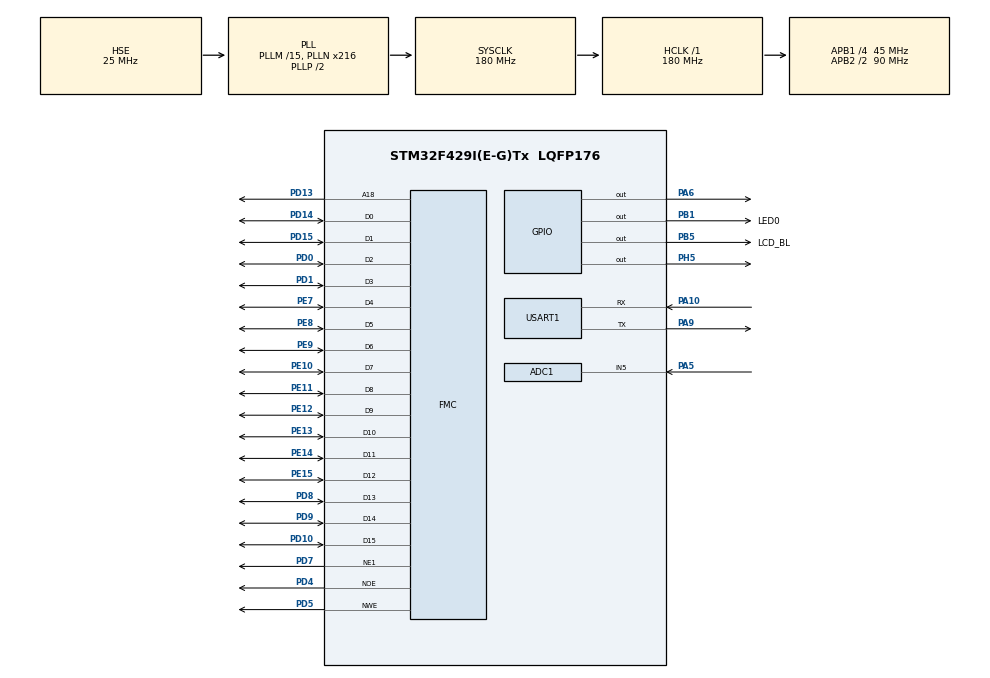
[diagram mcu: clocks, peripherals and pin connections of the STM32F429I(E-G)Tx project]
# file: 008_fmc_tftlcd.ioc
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ADC1.Channel-0\#ChannelRegularConversion=ADC_CHANNEL_5
ADC1.NbrOfConversionFlag=1
ADC1.Rank-0\#ChannelRegularConversion=1
ADC1.SamplingTime-0\#ChannelRegularConversion=ADC_SAMPLETIME_3CYCLES
ADC1.master=1
FMC.DataSetupTime1=70
FMC.ExtendedDataSetupTime1=15
FMC.ExtendedMode1=FMC_EXTENDED_MODE_ENABLE
Mcu.Family=STM32F4
Mcu.Name=STM32F429I(E-G)Tx
Mcu.Package=LQFP176
NVIC.ADC_IRQn=true\:0\:0\:false\:false\:true\:true\:true
NVIC.PriorityGroup=NVIC_PRIORITYGROUP_2
PA10.Mode=Asynchronous
PA10.Signal=USART1_RX
PA13.Mode=Serial_Wire
PA13.Signal=SYS_JTMS-SWDIO
PA14.Mode=Serial_Wire
PA14.Signal=SYS_JTCK-SWCLK
PA5.Signal=ADCx_IN5
PA6.PinState=GPIO_PIN_SET
PA6.Signal=GPIO_Output
PA9.Mode=Asynchronous
PA9.Signal=USART1_TX
PB1.GPIO_Label=LED0
PB1.Signal=GPIO_Output
PB5.GPIO_Label=LCD_BL
PB5.GPIO_PuPd=GPIO_PULLUP
PB5.GPIO_Speed=GPIO_SPEED_FREQ_VERY_HIGH
PB5.PinState=GPIO_PIN_SET
PB5.Signal=GPIO_Output
PC14/OSC32_IN.Mode=LSE-External-Oscillator
PC14/OSC32_IN.Signal=RCC_OSC32_IN
PC15/OSC32_OUT.Mode=LSE-External-Oscillator
PC15/OSC32_OUT.Signal=RCC_OSC32_OUT
PD0.Signal=FMC_D2_DA2
PD1.Signal=FMC_D3_DA3
PD10.Signal=FMC_D15_DA15
PD13.Signal=FMC_A18
PD14.Signal=FMC_D0_DA0
PD15.Signal=FMC_D1_DA1
PD4.Signal=FMC_NOE
PD5.Signal=FMC_NWE
PD7.Mode=NorPsramChipSelect1_1
PD7.Signal=FMC_NE1
PD8.Signal=FMC_D13_DA13
PD9.Signal=FMC_D14_DA14
PE10.Signal=FMC_D7_DA7
PE11.Signal=FMC_D8_DA8
PE12.Signal=FMC_D9_DA9
PE13.Signal=FMC_D10_DA10
PE14.Signal=FMC_D11_DA11
PE15.Signal=FMC_D12_DA12
PE7.Signal=FMC_D4_DA4
PE8.Signal=FMC_D5_DA5
PE9.Signal=FMC_D6_DA6
PH0/OSC_IN.Mode=HSE-External-Oscillator
PH0/OSC_IN.Signal=RCC_OSC_IN
PH1/OSC_OUT.Mode=HSE-External-Oscillator
PH1/OSC_OUT.Signal=RCC_OSC_OUT
PH5.Signal=GPIO_Output
ProjectManager.HeapSize=0x200
ProjectManager.StackSize=0x400
ProjectManager.TargetToolchain=MDK-ARM V5.27
RCC.48MHZClocksFreq_Value=90000000
RCC.AHBFreq_Value=180000000
RCC.APB1CLKDivider=RCC_HCLK_DIV4
RCC.APB1Freq_Value=45000000
RCC.APB1TimFreq_Value=90000000
RCC.APB2CLKDivider=RCC_HCLK_DIV2
RCC.APB2Freq_Value=90000000
RCC.APB2TimFreq_Value=180000000
RCC.CortexFreq_Value=180000000
RCC.HCLKFreq_Value=180000000
RCC.HSE_VALUE=25000000
RCC.HSI_VALUE=16000000
RCC.PLLM=15
RCC.PLLN=216
RCC.PLLSourceVirtual=RCC_PLLSOURCE_HSE
RCC.SYSCLKFreq_VALUE=180000000
RCC.SYSCLKSource=RCC_SYSCLKSOURCE_PLLCLK
RCC.VCOOutputFreq_Value=360000000
SH.ADCx_IN5.0=ADC1_IN5,IN5
SH.FMC_A18.0=FMC_A18,A18_1
SH.FMC_D0_DA0.0=FMC_D0,16b-d1
SH.FMC_D10_DA10.0=FMC_D10,16b-d1
SH.FMC_D11_DA11.0=FMC_D11,16b-d1
SH.FMC_D12_DA12.0=FMC_D12,16b-d1
SH.FMC_D13_DA13.0=FMC_D13,16b-d1
SH.FMC_D14_DA14.0=FMC_D14,16b-d1
SH.FMC_D15_DA15.0=FMC_D15,16b-d1
SH.FMC_D1_DA1.0=FMC_D1,16b-d1
SH.FMC_D2_DA2.0=FMC_D2,16b-d1
SH.FMC_D3_DA3.0=FMC_D3,16b-d1
SH.FMC_D4_DA4.0=FMC_D4,16b-d1
SH.FMC_D5_DA5.0=FMC_D5,16b-d1
SH.FMC_D6_DA6.0=FMC_D6,16b-d1
SH.FMC_D7_DA7.0=FMC_D7,16b-d1
SH.FMC_D8_DA8.0=FMC_D8,16b-d1
SH.FMC_D9_DA9.0=FMC_D9,16b-d1
SH.FMC_NOE.0=FMC_NOE,Lcd1
SH.FMC_NWE.0=FMC_NWE,Lcd1
USART1.VirtualMode=VM_ASYNC
board=custom

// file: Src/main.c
/* USER CODE BEGIN Header */
/**
  ******************************************************************************
  * @file           : main.c
  * @brief          : Main program body
  ******************************************************************************
  * @attention
  *
  * <h2><center>&copy; Copyright (c) 2021 STMicroelectronics.
  * All rights reserved.</center></h2>
  *
  * This software component is licensed by ST under BSD 3-Clause license,
  * the "License"; You may not use this file except in compliance with the
  * License. You may obtain a copy of the License at:
  *                        opensource.org/licenses/BSD-3-Clause
  *
  ******************************************************************************
  */
/* USER CODE END Header */

#include "main.h"
#include "adc.h"
#include "usart.h"
#include "gpio.h"
#include "fmc.h"

/* USER CODE BEGIN Includes */
#include "lcd.h"
#include "stdio.h"
/* USER CODE END Includes */

void SystemClock_Config(void);

/* USER CODE BEGIN 0 */

uint8_t lcd_id[12];
int16_t adc1_in5_value = 0,adc1_in5_volt = 0;
uint8_t str_buff[64] = {0};
uint8_t str_1[] = "TencentOS tiny";//14

void ADC_Conv_Info(void)
{
	HAL_ADC_Start(&hadc1);

	if(HAL_OK == HAL_ADC_PollForConversion(&hadc1,10))
	{
		adc1_in5_value = HAL_ADC_GetValue(&hadc1);
		adc1_in5_volt = adc1_in5_value * 330 / 4096;//单位：10mv
	}

	HAL_ADC_Stop(&hadc1);
}

void USART1_Trans(void)
{
	sprintf((char *)str_buff,"Value:%d|||||Voltage:%d.%d%dV",adc1_in5_value,(adc1_in5_volt/100)%10,(adc1_in5_volt/10)%10,adc1_in5_volt%10);//23
	HAL_UART_Transmit(&huart1,str_1,sizeof(str_1),10000);
	HAL_UART_Transmit(&huart1,str_buff,sizeof(str_buff),10000);
}

/* USER CODE END 0 */

int main(void)
{

  /* MCU Configuration--------------------------------------------------------*/

  /* Reset of all peripherals, Initializes the Flash interface and the Systick. */
  HAL_Init();

  /* Configure the system clock */
  SystemClock_Config();

  /* Initialize all configured peripherals */
  MX_GPIO_Init();
  MX_ADC1_Init();
  MX_FMC_Init();
  MX_USART1_UART_Init();
  /* USER CODE BEGIN 2 */
	TFTLCD_Init();
  sprintf((char*)lcd_id,"LCD ID:%04X",lcddev.id);//将LCD ID格式化到lcd_id数组。

  /* USER CODE END 2 */

  /* Infinite loop */
  /* USER CODE BEGIN WHILE */
  while (1)
  {

		LED0_TOG; //LD0灯翻转
		HAL_Delay(1);

		TFTLCD_Clear(GBLUE);//清屏背景颜色为青蓝色

		ADC_Conv_Info();//读ADC采样转电压

		USART1_Trans();//格式化数据串口输出

//    POINT_COLOR=count;//画笔颜色

    TFTLCD_ShowStr(10,90,200,16,16,lcd_id);  //显示TFTLCD驱动芯片型号
		TFTLCD_ShowStr(10,150,736,32,32,str_buff);
		TFTLCD_ShowStr(120,240,700,32,32,str_1);

		HAL_Delay(500);

  }
    /* USER CODE END WHILE */

}

void SystemClock_Config(void)
{
  RCC_OscInitTypeDef RCC_OscInitStruct = {0};
  RCC_ClkInitTypeDef RCC_ClkInitStruct = {0};

  /** Configure the main internal regulator output voltage
  */
  __HAL_RCC_PWR_CLK_ENABLE();
  __HAL_PWR_VOLTAGESCALING_CONFIG(PWR_REGULATOR_VOLTAGE_SCALE1);
  /** Initializes the CPU, AHB and APB busses clocks
  */
  RCC_OscInitStruct.OscillatorType = RCC_OSCILLATORTYPE_HSE;
  RCC_OscInitStruct.HSEState = RCC_HSE_ON;
  RCC_OscInitStruct.PLL.PLLState = RCC_PLL_ON;
  RCC_OscInitStruct.PLL.PLLSource = RCC_PLLSOURCE_HSE;
  RCC_OscInitStruct.PLL.PLLM = 15;
  RCC_OscInitStruct.PLL.PLLN = 216;
  RCC_OscInitStruct.PLL.PLLP = RCC_PLLP_DIV2;
  RCC_OscInitStruct.PLL.PLLQ = 4;
  if (HAL_RCC_OscConfig(&RCC_OscInitStruct) != HAL_OK)
  {
    Error_Handler();
  }
  /** Activate the Over-Drive mode
  */
  if (HAL_PWREx_EnableOverDrive() != HAL_OK)
  {
    Error_Handler();
  }
  /** Initializes the CPU, AHB and APB busses clocks
  */
  RCC_ClkInitStruct.ClockType = RCC_CLOCKTYPE_HCLK|RCC_CLOCKTYPE_SYSCLK
                              |RCC_CLOCKTYPE_PCLK1|RCC_CLOCKTYPE_PCLK2;
  RCC_ClkInitStruct.SYSCLKSource = RCC_SYSCLKSOURCE_PLLCLK;
  RCC_ClkInitStruct.AHBCLKDivider = RCC_SYSCLK_DIV1;
  RCC_ClkInitStruct.APB1CLKDivider = RCC_HCLK_DIV4;
  RCC_ClkInitStruct.APB2CLKDivider = RCC_HCLK_DIV2;

  if (HAL_RCC_ClockConfig(&RCC_ClkInitStruct, FLASH_LATENCY_5) != HAL_OK)
  {
    Error_Handler();
  }
}

void Error_Handler(void)
{
}

/************************ (C) COPYRIGHT STMicroelectronics *****END OF FILE****/
